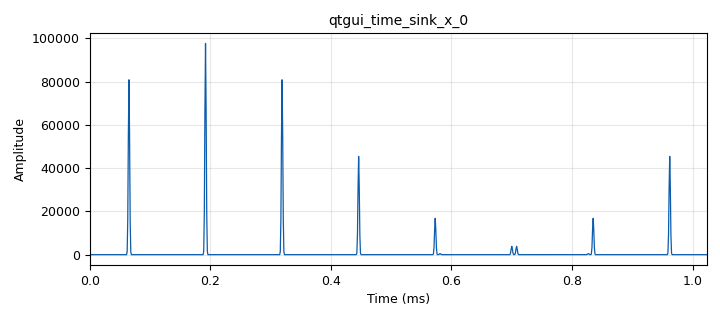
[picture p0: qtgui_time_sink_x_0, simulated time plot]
<?xml version='1.0' encoding='utf-8'?>
<?grc format='1' created='3.7.13'?>
<flow_graph>
<block>
<key>options</key>
<param><key>id</key><value>top_block</value></param>
<param><key>generate_options</key><value>qt_gui</value></param>
</block>
<block>
<key>variable</key>
<param><key>id</key><value>N</value></param>
<param><key>value</key><value>1024</value></param>
</block>
<block>
<key>variable</key>
<param><key>id</key><value>samp_rate</value></param>
<param><key>value</key><value>1e6</value></param>
</block>
<block>
<key>blocks_complex_to_mag</key>
<param><key>id</key><value>blocks_complex_to_mag_0</value></param>
</block>
<block>
<key>blocks_multiply_conjugate_cc</key>
<param><key>id</key><value>blocks_multiply_conjugate_cc_0</value></param>
<param><key>vlen</key><value>N</value></param>
</block>
<block>
<key>blocks_stream_to_vector</key>
<param><key>id</key><value>blocks_stream_to_vector_0</value></param>
<param><key>type</key><value>float</value></param>
<param><key>num_items</key><value>N</value></param>
</block>
<block>
<key>blocks_stream_to_vector</key>
<param><key>id</key><value>blocks_stream_to_vector_0_0</value></param>
<param><key>type</key><value>float</value></param>
<param><key>num_items</key><value>N</value></param>
</block>
<block>
<key>blocks_throttle</key>
<param><key>id</key><value>blocks_throttle_0</value></param>
<param><key>samples_per_second</key><value>samp_rate</value></param>
<param><key>type</key><value>float</value></param>
</block>
<block>
<key>blocks_vector_to_stream</key>
<param><key>id</key><value>blocks_vector_to_stream_0</value></param>
<param><key>type</key><value>complex</value></param>
<param><key>num_items</key><value>N</value></param>
</block>
<block>
<key>digital_glfsr_source_x</key>
<param><key>id</key><value>digital_glfsr_source_x_0</value></param>
<param><key>comment</key><value>mask=0x41=x^7+x^1+1
wiki.spench.net/wiki/GNU_Radio_Notes#GLFSR_Source
0x41=65 works with FPGA
0x48 is alternative PRN: users.ece.cmu.edu/~koopman/lfsr/7.txt</value></param>
<param><key>degree</key><value>7</value></param>
<param><key>mask</key><value>0x00000055</value></param>
<param><key>repeat</key><value>True</value></param>
<param><key>seed</key><value>1</value></param>
<param><key>type</key><value>float</value></param>
</block>
<block>
<key>digital_glfsr_source_x</key>
<param><key>id</key><value>digital_glfsr_source_x_0_0</value></param>
<param><key>comment</key><value>mask=0x41=x^7+x^1+1
wiki.spench.net/wiki/GNU_Radio_Notes#GLFSR_Source
0x41=65 works with FPGA
0x48 is alternative PRN: users.ece.cmu.edu/~koopman/lfsr/7.txt</value></param>
<param><key>degree</key><value>7</value></param>
<param><key>mask</key><value>0x00000055</value></param>
<param><key>repeat</key><value>True</value></param>
<param><key>seed</key><value>1</value></param>
<param><key>type</key><value>float</value></param>
</block>
<block>
<key>fft_vxx</key>
<param><key>id</key><value>fft_vxx_0</value></param>
<param><key>fft_size</key><value>N</value></param>
<param><key>forward</key><value>False</value></param>
<param><key>type</key><value>float</value></param>
<param><key>shift</key><value>True</value></param>
<param><key>window</key><value>window.blackmanharris(1024)</value></param>
</block>
<block>
<key>fft_vxx</key>
<param><key>id</key><value>fft_vxx_0_0</value></param>
<param><key>fft_size</key><value>N</value></param>
<param><key>forward</key><value>False</value></param>
<param><key>type</key><value>float</value></param>
<param><key>shift</key><value>True</value></param>
<param><key>window</key><value>window.blackmanharris(1024)</value></param>
</block>
<block>
<key>fft_vxx</key>
<param><key>id</key><value>fft_vxx_0_1</value></param>
<param><key>fft_size</key><value>N</value></param>
<param><key>forward</key><value>True</value></param>
<param><key>type</key><value>complex</value></param>
<param><key>shift</key><value>True</value></param>
<param><key>window</key><value>window.blackmanharris(1024)</value></param>
</block>
<block>
<key>qtgui_time_sink_x</key>
<param><key>id</key><value>qtgui_time_sink_x_0</value></param>
<param><key>autoscale</key><value>True</value></param>
<param><key>color1</key><value>"blue"</value></param>
<param><key>label1</key><value></value></param>
<param><key>size</key><value>1024</value></param>
<param><key>srate</key><value>samp_rate</value></param>
<param><key>type</key><value>float</value></param>
</block>
<connection><source_block_id>blocks_complex_to_mag_0</source_block_id><sink_block_id>qtgui_time_sink_x_0</sink_block_id><source_key>0</source_key><sink_key>0</sink_key></connection>
<connection><source_block_id>blocks_multiply_conjugate_cc_0</source_block_id><sink_block_id>fft_vxx_0_1</sink_block_id><source_key>0</source_key><sink_key>0</sink_key></connection>
<connection><source_block_id>blocks_stream_to_vector_0</source_block_id><sink_block_id>fft_vxx_0</sink_block_id><source_key>0</source_key><sink_key>0</sink_key></connection>
<connection><source_block_id>blocks_stream_to_vector_0_0</source_block_id><sink_block_id>fft_vxx_0_0</sink_block_id><source_key>0</source_key><sink_key>0</sink_key></connection>
<connection><source_block_id>blocks_throttle_0</source_block_id><sink_block_id>blocks_stream_to_vector_0</sink_block_id><source_key>0</source_key><sink_key>0</sink_key></connection>
<connection><source_block_id>blocks_vector_to_stream_0</source_block_id><sink_block_id>blocks_complex_to_mag_0</sink_block_id><source_key>0</source_key><sink_key>0</sink_key></connection>
<connection><source_block_id>digital_glfsr_source_x_0</source_block_id><sink_block_id>blocks_throttle_0</sink_block_id><source_key>0</source_key><sink_key>0</sink_key></connection>
<connection><source_block_id>digital_glfsr_source_x_0_0</source_block_id><sink_block_id>blocks_stream_to_vector_0_0</sink_block_id><source_key>0</source_key><sink_key>0</sink_key></connection>
<connection><source_block_id>fft_vxx_0</source_block_id><sink_block_id>blocks_multiply_conjugate_cc_0</sink_block_id><source_key>0</source_key><sink_key>0</sink_key></connection>
<connection><source_block_id>fft_vxx_0_0</source_block_id><sink_block_id>blocks_multiply_conjugate_cc_0</sink_block_id><source_key>0</source_key><sink_key>1</sink_key></connection>
<connection><source_block_id>fft_vxx_0_1</source_block_id><sink_block_id>blocks_vector_to_stream_0</sink_block_id><source_key>0</source_key><sink_key>0</sink_key></connection>
</flow_graph>
